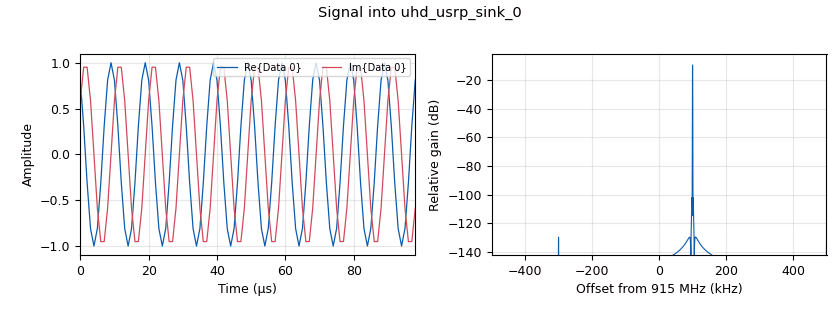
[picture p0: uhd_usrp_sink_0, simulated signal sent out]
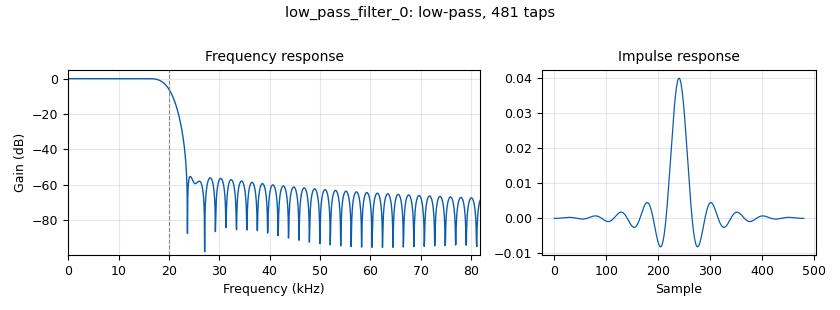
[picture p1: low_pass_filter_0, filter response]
options:
  parameters:
    author: ebaum
    generate_options: qt_gui
    id: top_block
    output_language: python
    title: Not titled yet
  states: {}

blocks:
- name: center_freq
  id: variable
  parameters:
    value: 915e6
  states: {}
- name: rx_gain
  id: variable_qtgui_range
  parameters:
    gui_hint: 2,2,1,1
    label: RX gain (dB)
    orient: Qt.Horizontal
    start: '0'
    step: '1'
    stop: '70'
    value: '50'
  states: {}
- name: samp_rate
  id: variable
  parameters:
    value: 1e6
  states: {}
- name: scatter_freq
  id: variable
  parameters:
    value: scatter_freq_khz * 1e3
  states: {}
- name: scatter_freq_khz
  id: variable_qtgui_entry
  parameters:
    gui_hint: 1,2,1,1
    label: Scatter Freq (kHz)
    type: int
    value: '-200'
  states: {}
- name: signal_freq
  id: variable
  parameters:
    value: signal_freq_khz * 1e3
  states: {}
- name: signal_freq_khz
  id: variable_qtgui_entry
  parameters:
    gui_hint: 1,1,1,1
    label: Signal Freq (kHz)
    type: int
    value: '100'
  states: {}
- name: sps
  id: variable
  parameters:
    value: int(samp_rate/symbol_rate)
  states: {}
- name: symbol_rate
  id: variable
  parameters:
    value: 10e3
  states: {}
- name: tx_gain
  id: variable_qtgui_range
  parameters:
    gui_hint: 2,1,1,1
    label: TX gain (dB)
    orient: Qt.Horizontal
    start: '0'
    step: '1'
    stop: '50'
    value: '0'
  states: {}
- name: tx_samp_rate
  id: variable
  parameters:
    value: 1e6
  states: {}
- name: analog_sig_source_x_0
  id: analog_sig_source_x
  parameters:
    amp: '1'
    freq: signal_freq
    offset: '0'
    phase: '0'
    samp_rate: tx_samp_rate
    type: complex
    waveform: analog.GR_COS_WAVE
  states: {}
- name: analog_sig_source_x_1
  id: analog_sig_source_x
  parameters:
    amp: '1'
    freq: scatter_freq
    offset: '0'
    phase: '0'
    samp_rate: samp_rate
    type: complex
    waveform: analog.GR_COS_WAVE
  states: {}
- name: blocks_multiply_xx_0
  id: blocks_multiply_xx
  parameters:
    type: complex
  states: {}
- name: blocks_uchar_to_float_0
  id: blocks_uchar_to_float
  parameters: {}
  states: {}
- name: digital_gfsk_demod_0
  id: digital_gfsk_demod
  parameters:
    freq_error: '0.0'
    gain_mu: '0.175'
    mu: '0.5'
    omega_relative_limit: '0.005'
    samples_per_symbol: sps
    sensitivity: '1.0'
  states: {}
- name: low_pass_filter_0
  id: low_pass_filter
  parameters:
    cutoff_freq: 20e3
    decim: sps
    gain: '1'
    samp_rate: samp_rate
    type: fir_filter_ccf
    width: 5e3
    win: firdes.WIN_HAMMING
  states: {}
- name: qtgui_freq_sink_x_0
  id: qtgui_freq_sink_x
  parameters:
    bw: symbol_rate
    ctrlpanel: 'True'
    fc: '0'
    fftsize: '1024'
    type: complex
    wintype: firdes.WIN_BLACKMAN_hARRIS
  states: {}
- name: qtgui_time_sink_x_0
  id: qtgui_time_sink_x
  parameters:
    ctrlpanel: 'True'
    size: '256'
    srate: samp_rate
    type: complex
  states: {state: disabled}
- name: qtgui_time_sink_x_1
  id: qtgui_time_sink_x
  parameters:
    ctrlpanel: 'True'
    size: '128'
    srate: symbol_rate
    type: float
    ymin: '0'
  states: {}
- name: uhd_usrp_sink_0
  id: uhd_usrp_sink
  parameters:
    ant0: TX/RX
    center_freq0: center_freq
    dev_args: '""'
    gain0: tx_gain
    len_tag_name: ''
    norm_gain0: 'False'
    samp_rate: tx_samp_rate
    sync: sync
    type: fc32
  states: {}
- name: uhd_usrp_source_0
  id: uhd_usrp_source
  parameters:
    ant0: RX2
    center_freq0: center_freq
    dc_offs_enb0: '""'
    dev_args: '""'
    gain0: rx_gain
    iq_imbal_enb0: '""'
    norm_gain0: 'False'
    samp_rate: samp_rate
    sync: sync
    type: fc32
  states: {}

connections:
- [analog_sig_source_x_0, '0', uhd_usrp_sink_0, '0']
- [analog_sig_source_x_1, '0', blocks_multiply_xx_0, '1']
- [blocks_multiply_xx_0, '0', low_pass_filter_0, '0']
- [blocks_uchar_to_float_0, '0', qtgui_time_sink_x_1, '0']
- [digital_gfsk_demod_0, '0', blocks_uchar_to_float_0, '0']
- [low_pass_filter_0, '0', digital_gfsk_demod_0, '0']
- [low_pass_filter_0, '0', qtgui_freq_sink_x_0, '0']
- [uhd_usrp_source_0, '0', blocks_multiply_xx_0, '0']
- [uhd_usrp_source_0, '0', qtgui_time_sink_x_0, '0']

metadata:
  file_format: 1
